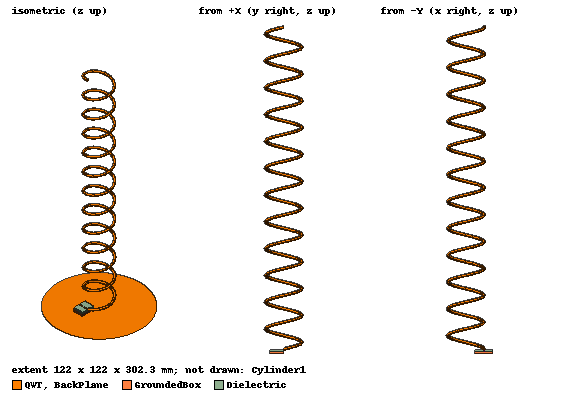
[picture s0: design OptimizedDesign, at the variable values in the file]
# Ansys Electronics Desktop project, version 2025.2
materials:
  FR4_epoxy: permittivity=4.4 dielectric_loss_tangent=0.02
  copper: permeability=0.999991 conductivity=58000000
  vacuum: permittivity=1

design OptimizedDesign (HFSS, HFSS Modal Network, model units mm)
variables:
  BP_R = lambda
  lambda = 122mm  # wavelength
  S = (tan(pitchH) * C * 1000) mm  # Spacing between each turn, defines pitch
  L = N * S  # Total length of the antenna
  Ln = C * N  # Total length of wire
  N = 12  # Number of turns
  t_g = 2mm  # Thickness of groundplane
  a = 1.4mm  # radius of helix wire
  Di_c = 1.3mm  # Diameter of inner layer of coaxial feed
  Do_c = 4.35mm  # Diameter of outer layer of coaxial feed
  C = lambda * 0.8571428571  # Circumference of helix
  t_oc = 0.5mm  # Thickness of coaxial outer layer
  Dh = C/pi  # Helix diameter
  Lf = 10mm
  k = 2.3mm  # Distance between feed and helix
  pitchH = 13.3deg
  sy = 0.5mm
  sz = 1mm
  subh = 60mil
  sub_dimW = 683.272mil
  TL140_L = 525.877953mil
  pinD = 0.36mm
  OutL = 4mm
  OutD = 2.6mm
  SX = 7.35mm
  TefD = 2.2mm
  TL140_W = 40.075591mil
  pinL = 1.5mm
  ins = 0.43mm
  innerD = 0.63mm
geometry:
  BackPlane [copper] = cylinder(axis=Z, base_centre=(0mm, 0mm, -t_g), radius=lambda / 2, height=0)
  Circle2 = circle(normal=Y, centre=(Dh/2, 0mm, k), radius=a)
  Circle2.helix(XCenter=-0.024716746mm YCenter=0mm ZCenter=0mm XStartDir=0.024716746mm YStartDir=0mm ZStartDir=14mm NumThread=N RightHand=true RadiusIncrement=0mm Thread=S)
  Polyline1 = polyline((0mm, 0.649961mm, -4.5218855mm) (0mm, 0.649973mm, -4.5218855mm))
  feedbox = box(corner=(Dh/2 -TL140_W/2, -sy, k-sz/2), size=(TL140_W, sy, sz))
  Cylinder1 [vacuum] = cylinder(axis=Z, base_centre=(0mm, 0mm, -lambda/4), radius=C+lambda/4, height=S*N + lambda/2)
  coordinate_system RelativeCS1 = origin=(-1.39587mm, 0mm, 0mm) x=(1mm, 0mm, 0mm) y=(0mm, 1mm, 0mm)
  coordinate_system RelativeCS2 = origin=(1.39587mm, 0mm, -1.524mm) x=(1mm, 0mm, 0mm) y=(0mm, 1mm, 0mm) in RelativeCS1
  coordinate_system RelativeCS4 = origin=(3.675mm, 2.5mm, 0mm) x=(1mm, 0mm, 0mm) y=(0mm, 1mm, 0mm) in RelativeCS2
  coordinate_system RelativeCS5 = origin=(-3.675mm, 2.5mm, 1mm) x=(1mm, 0mm, 0mm) y=(0mm, 1mm, 0mm) in RelativeCS2
  coordinate_system RelativeCS3 = origin=(0mm, 0mm, subH) x=(1mm, 0mm, 0mm) y=(0mm, 1mm, 0mm) in RelativeCS5
  coordinate_system CenterCS = origin=(SX/2, 0mm, 0mm) x=(1mm, 0mm, 0mm) y=(0mm, 1mm, 0mm) in RelativeCS3
  coordinate_system PinCS = origin=(0mm, 0mm, pinD/2) x=(1mm, 0mm, 0mm) y=(0mm, 1mm, 0mm) in CenterCS
  coordinate_system OuterCS = origin=(0mm, -SY, 0mm) x=(1mm, 0mm, 0mm) y=(0mm, 1mm, 0mm) in PinCS
  coordinate_system RelativeCS7 = origin=(1.2mm, -8mm, 0mm) x=(1mm, 0mm, 0mm) y=(0mm, 1mm, 0mm)
  coordinate_system RelativeCS8 = origin=(1.21587mm, 32.1702mm, -0.18mm) x=(1mm, 0mm, 0mm) y=(0mm, 1mm, 0mm)
  coordinate_system RelativeCS9 = origin=(1.21587mm, -1.5mm, -1.704mm) x=(1mm, 0mm, 0mm) y=(0mm, 1mm, 0mm)
  coordinate_system RelativeCS10 = origin=(16.64306mm, -1.4mm, 1.8mm) x=(1mm, 0mm, 0mm) y=(0mm, 1mm, 0mm)
  coordinate_system RelativeCS11 = origin=(1.21587mm, -1.5mm, -1.704mm) x=(1mm, 0mm, 0mm) y=(0mm, 1mm, 0mm) in RelativeCS10
  coordinate_system RelativeCS12 = origin=(0.027345007mm, -15.6867mm, -0.03956mm) x=(1mm, 0mm, 0mm) y=(0mm, 1mm, 0mm) in RelativeCS10
  Dielectric [FR4_epoxy] = box(corner=(-sub_dimW/2, 0mm, -subh), size=(sub_dimW, TL140_L, subh))
  Dielectric.move(1.21587mm, -1.5mm, -0.18mm)
  coordinate_system RelativeCS13 = origin=(1.21587mm, -1.5mm, -1.704mm) x=(1mm, 0mm, 0mm) y=(0mm, 1mm, 0mm)
  QWT [copper] = box(corner=(-TL140_W/2, 0mm, subh), size=(TL140_W, TL140_L, 1.4mil)) in RelativeCS13
  coordinate_system RelativeCS14 = origin=(16.64306mm, 0mm, 1.8mm) x=(1mm, 0mm, 0mm) y=(0mm, 1mm, 0mm)
  [Polyline1, Dielectric, QWT].move(15.42719mm, -15.5867mm, 1.98mm) in RelativeCS14
  GroundedBox [copper] = box(corner=(Dh-sub_dimW/2, 0mm, k-subh-sz/2), size=(-sub_dimW, -TL140_L, -k+sz/2-t_g+subh))
  GroundedBox.move(0.71204904mm, -3.5527137e-15mm, 1.6653345e-16mm)
  LP = rectangle(corner=(-TL140_W/2, -TL140_L, 0mm), z_size=-subh, x_size=TL140_W) in RelativeCS14
  [QWT, Dielectric].move(-3.5527137e-14mm, 1.2388mm, 0mm) in RelativeCS14
  [QWT, Dielectric].move(-3.5527137e-15mm, 2.4906mm, 0mm) in RelativeCS14
  QWT.unite(feedbox, Circle2)
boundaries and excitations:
  PerfE1: Perfect E Objects=BackPlane
  FE-BI1: FE-BI Objects=Cylinder1 UseAdaptiveIE
  1: Lumped Port Objects=LP LumpedPortType=Modal Modes{Mode1{IntLine{(16.64306, -13.3573, 0.276) -> (16.64306, -13.3573, 1.8)} CharImp=Zpi}} Impedance=50ohm
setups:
  Setup1: HfssDriven Frequency=3GHz MaxDeltaS=0.02 MaximumPasses=8 MinimumPasses=1 MinimumConvergedPasses=1 PercentRefinement=30 BasisOrder=1 PortAccuracy=2 DrivenSolverType="Domain Decomposition" IterativeResidual=1e-06 DDMSolverResidual=0.0001 InfiniteSphereSetup=1
    sweep Sweep: 1.5GHz to 4.5GHz, 401 points; Type=Interpolating SaveFields SaveRadFields InterpTolerance=0.5 InterpMaxSolns=250 InterpUsePortImped=false PassivityErrorTolerance=0.0001
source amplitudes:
  1:1: 1W 0deg
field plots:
  Mesh1: MeshPlots over QWT.face(at (17.1668, 0, 298.935), at (16.9049, 0, 149.218)) on Setup1 : LastAdaptive at Freq=3GHz Phase=0deg
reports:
  S Parameter Plot1: dB(S(1,1)) vs Freq on Setup1 : Sweep
